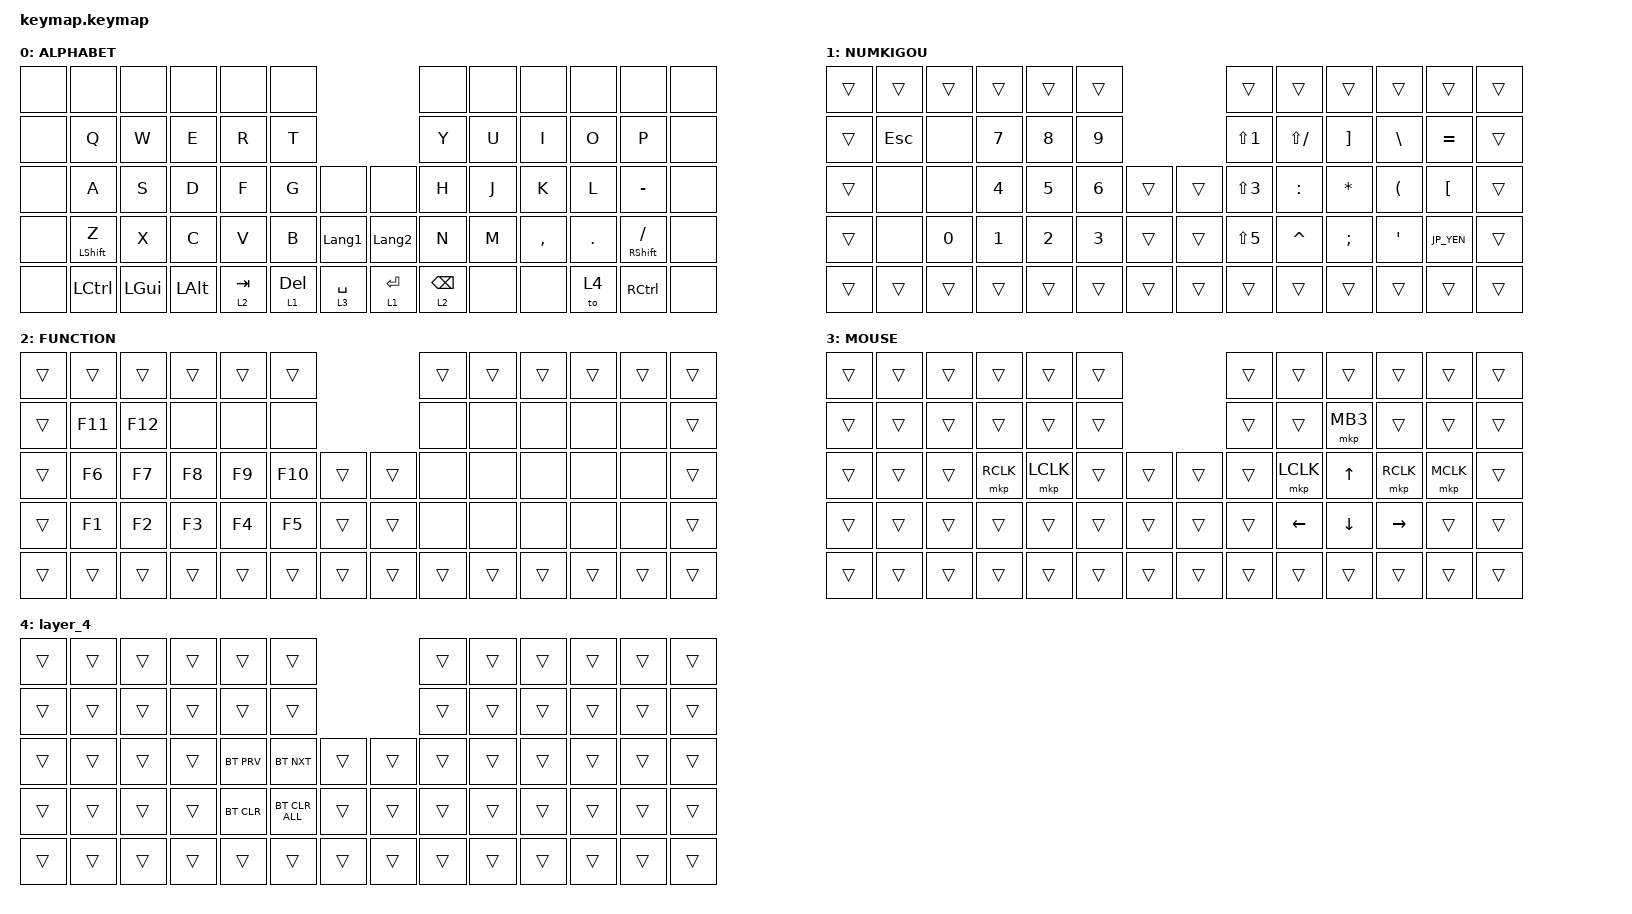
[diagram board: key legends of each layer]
#include <behaviors.dtsi>
#include <dt-bindings/zmk/bt.h>
#include <dt-bindings/zmk/keys.h>
#include <dt-bindings/zmk/pointing.h>

// OS設定を日本語キーボードのまま使用するための変換定義

#define JP_DQUOTE       AT                // "
#define JP_AMPERSAND    CARET             // &
#define JP_QUOTE        AMPERSAND         // '
#define JP_EQUAL        UNDER             // =
#define JP_CARET        EQUAL             // ^
#define JP_YEN          0x89              // ¥
#define JP_PLUS         COLON             // +
#define JP_TILDE        PLUS              // ~
#define JP_PIPE         LS(0x89)          // |
#define JP_AT           LEFT_BRACKET      // @
#define JP_COLON        SINGLE_QUOTE      // :
#define JP_ASTERISK     DOUBLE_QUOTES     // *
#define JP_BACKQUOTE    LEFT_BRACE        // `
#define JP_UNDERSCORE   LS(0x87)          // _
#define JP_LBRACKET     RIGHT_BRACKET     // [
#define JP_RBRACKET     BACKSLASH         // ]
#define JP_LPAREN       ASTERISK          // (
#define JP_RPAREN       LEFT_PARENTHESIS  // )
#define JP_LBRACE       RIGHT_BRACE       // {
#define JP_RBRACE       PIPE              // }
#define JP_KANA         LANGUAGE_1        // かな
#define JP_EISU         LANGUAGE_2        // 英数
#define JP_HANZEN       GRAVE             // 半角/全角

/ {
    combos {
        compatible = "zmk,combos";

        bt_clear {
            bindings = <&bt BT_CLR>;
            key-positions = <28 29>;
            layers = <2>;
        };
    };

    keymap {
        compatible = "zmk,keymap";

        ALPHABET {
            bindings = <
&none  &none             &none     &none         &none      &none                                      &none            &none  &none      &none    &none                 &none
&none  &kp Q             &kp W     &kp E         &kp R      &kp T                                      &kp Y            &kp U  &kp I      &kp O    &kp P                 &none
&none  &kp A             &kp S     &kp D         &kp F      &kp G      &none           &none           &kp H            &kp J  &kp K      &kp L    &kp MINUS             &none
&none  &mt LEFT_SHIFT Z  &kp X     &kp C         &kp V      &kp B      &kp JP_KANA     &kp JP_EISU     &kp N            &kp M  &kp COMMA  &kp DOT  &mt RIGHT_SHIFT FSLH  &none
&none  &kp LCTRL         &kp LGUI  &kp LEFT_ALT  &lt 2 TAB  &lt 1 DEL  &lt 3 SPACE     &lt 1 ENTER     &lt 2 BACKSPACE  &none  &none      &to 4    &kp RCTRL             &none
            >;
        };

        NUMKIGOU {
            bindings = <
&trans  &trans   &trans  &trans        &trans        &trans                        &trans            &trans             &trans            &trans             &trans         &trans
&trans  &kp ESC  &none   &kp N7        &kp N8        &kp N9                        &kp LS(NUMBER_1)  &kp LS(SLASH)      &kp JP_LBRACKET   &kp JP_RBRACKET    &kp JP_CARET   &trans
&trans  &none    &none   &kp NUMBER_4  &kp N5        &kp NUMBER_6  &trans  &trans  &kp LS(NUMBER_3)  &kp JP_PLUS        &kp JP_LPAREN     &kp JP_RPAREN      &kp JP_AT      &trans
&trans  &none    &kp N0  &kp NUMBER_1  &kp NUMBER_2  &kp NUMBER_3  &trans  &trans  &kp LS(N5)        &kp JP_AMPERSAND   &kp SEMICOLON     &kp JP_COLON       &kp JP_YEN     &trans
&trans  &trans   &trans  &trans        &trans        &trans        &trans  &trans  &trans            &trans             &trans            &trans             &trans         &trans
            >;
        };

        FUNCTION {
            bindings = <
&trans  &trans   &trans   &trans  &trans  &trans                   &trans  &trans  &trans  &trans  &trans  &trans
&trans  &kp F11  &kp F12  &none   &none   &none                    &none   &none   &none   &none   &none   &trans
&trans  &kp F6   &kp F7   &kp F8  &kp F9  &kp F10  &trans  &trans  &none   &none   &none   &none   &none   &trans
&trans  &kp F1   &kp F2   &kp F3  &kp F4  &kp F5   &trans  &trans  &none   &none   &none   &none   &none   &trans
&trans  &trans   &trans   &trans  &trans  &trans   &trans  &trans  &trans  &trans  &trans  &trans  &trans  &trans
            >;
        };

        MOUSE {
            bindings = <
&trans  &trans  &trans  &trans     &trans     &trans                  &trans  &trans     &trans    &trans     &trans     &trans
&trans  &trans  &trans  &trans     &trans     &trans                  &trans  &trans     &mkp MB3  &trans     &trans     &trans
&trans  &trans  &trans  &mkp RCLK  &mkp LCLK  &trans  &trans  &trans  &trans  &mkp LCLK  &kp UP    &mkp RCLK  &mkp MCLK  &trans
&trans  &trans  &trans  &trans     &trans     &trans  &trans  &trans  &trans  &kp LEFT   &kp DOWN  &kp RIGHT  &trans     &trans
&trans  &trans  &trans  &trans     &trans     &trans  &trans  &trans  &trans  &trans     &trans    &trans     &trans     &trans
            >;
        };

        layer_4 {
            bindings = <
&trans  &trans  &trans  &trans  &trans      &trans                          &trans  &trans  &trans  &trans  &trans  &trans
&trans  &trans  &trans  &trans  &trans      &trans                          &trans  &trans  &trans  &trans  &trans  &trans
&trans  &trans  &trans  &trans  &bt BT_PRV  &bt BT_NXT      &trans  &trans  &trans  &trans  &trans  &trans  &trans  &trans
&trans  &trans  &trans  &trans  &bt BT_CLR  &bt BT_CLR_ALL  &trans  &trans  &trans  &trans  &trans  &trans  &trans  &trans
&trans  &trans  &trans  &trans  &trans      &trans          &trans  &trans  &trans  &trans  &trans  &trans  &trans  &trans
            >;
        };
    };
};
